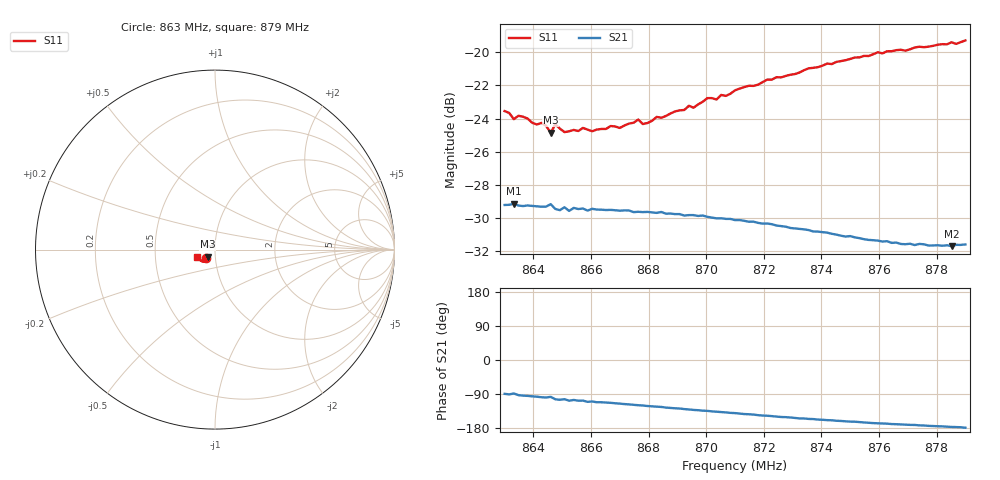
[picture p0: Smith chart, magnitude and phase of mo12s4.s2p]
# HZ S RI R 50
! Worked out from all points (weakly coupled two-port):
!   101 points, 863 MHz to 879 MHz, reference 50 ohm
!   highest |S21| = -29.13 dB at 863.32 MHz (marker M1); lowest = -31.7 dB at 878.52 MHz (marker M2)
!   lowest |S11| = -24.9 dB at 864.6 MHz (marker M3), VSWR 1.12, Z = 45.9 - j3.64 ohm
!   |S11| at or under -10 dB: start of sweep to end of sweep
!   S12 and S22 are empty: the file has one direction only
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8.63e8  -0.0497 -0.0441  0.000439 -0.0347  0 0  0 0
8.6332e8  -0.0442 -0.0446  0.00102 -0.0349  0 0  0 0
8.6348e8  -0.047 -0.044  -0.00167 -0.0345  0 0  0 0
8.6412e8  -0.0425 -0.0432  -0.00407 -0.0341  0 0  0 0
8.6428e8  -0.0415 -0.0451  -0.00493 -0.0339  0 0  0 0
8.646e8  -0.0413 -0.0395  -0.00439 -0.0346  0 0  0 0
8.6476e8  -0.0425 -0.0432  -0.00791 -0.0328  0 0  0 0
8.6508e8  -0.0349 -0.0456  -0.00792 -0.0332  0 0  0 0
8.6524e8  -0.0404 -0.0413  -0.00993 -0.0317  0 0  0 0
8.6572e8  -0.0368 -0.0463  -0.00996 -0.0323  0 0  0 0
8.6604e8  -0.0357 -0.0454  -0.0113 -0.0318  0 0  0 0
8.6668e8  -0.0348 -0.0488  -0.0131 -0.0308  0 0  0 0
8.67e8  -0.0333 -0.0488  -0.0141 -0.0302  0 0  0 0
8.6764e8  -0.0339 -0.0527  -0.0162 -0.0288  0 0  0 0
8.678e8  -0.0325 -0.0513  -0.0165 -0.0286  0 0  0 0
8.6844e8  -0.0334 -0.0539  -0.0184 -0.0274  0 0  0 0
8.7004e8  -0.0384 -0.0617  -0.0223 -0.0229  0 0  0 0
8.71e8  -0.0413 -0.0647  -0.0239 -0.02  0 0  0 0
8.7372e8  -0.058 -0.0684  -0.0263 -0.0118  0 0  0 0
8.7644e8  -0.0814 -0.0592  -0.0262 -0.00506  0 0  0 0
8.7852e8  -0.0967 -0.0461  -0.026 -0.00152  0 0  0 0
8.79e8  -0.1006 -0.0406  -0.0264 -0.000576  0 0  0 0
